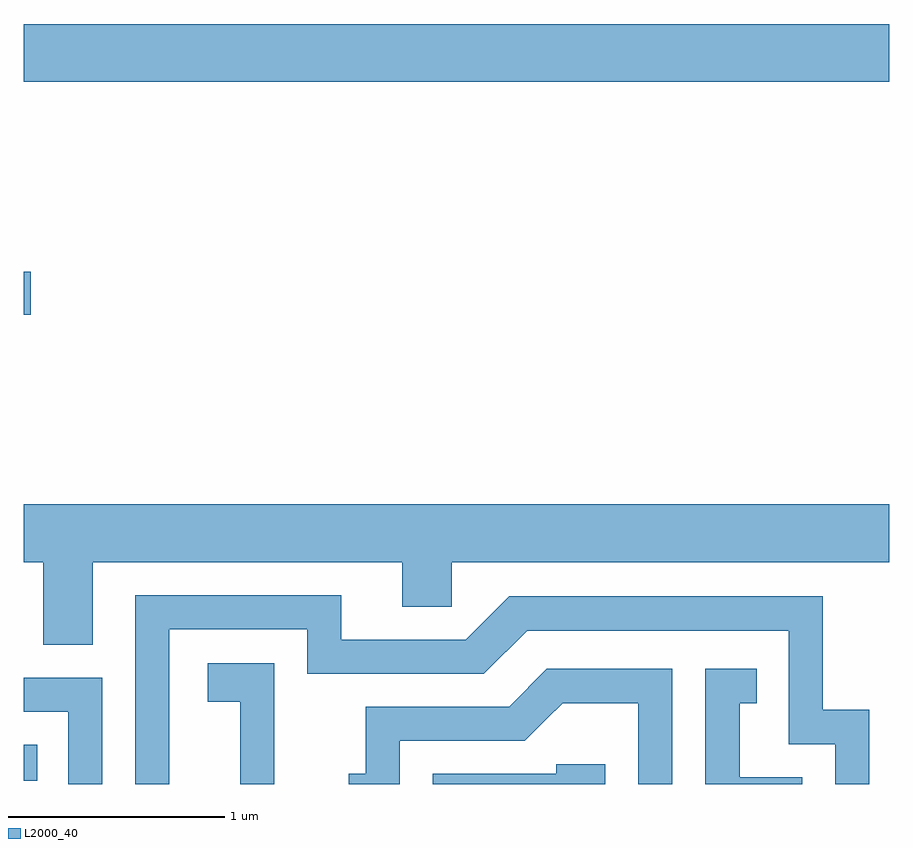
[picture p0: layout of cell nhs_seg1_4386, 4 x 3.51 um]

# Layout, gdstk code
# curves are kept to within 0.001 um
import gdstk
lib = gdstk.Library(unit=1e-6, precision=1e-09)
def R(c, l, rs):  # rectangles x0, y0, x1, y1
    for r in rs: c.add(gdstk.rectangle(r[:2], r[2:], *l))
def P(c, l, *ps):  # polygons
    for p in ps: c.add(gdstk.Polygon(p, *l))
L2000_40 = (2000, 40)

nhs_seg1_4386 = lib.new_cell('nhs_seg1_4386')
R(nhs_seg1_4386, L2000_40, [(317.611,849.726,317.673,849.894), (317.611,851.881,317.644,852.079), (317.611,852.956,321.611,853.224)])
P(nhs_seg1_4386, L2000_40, [(317.929,850.736),(319.361,850.736),(319.361,850.531),(319.589,850.531),(319.589,850.736),(321.611,850.736),(321.611,851.004),(317.611,851.004),(317.611,850.736),(317.701,850.736),(317.701,850.356),(317.929,850.356)],
  [(318.284,850.426),(318.921,850.426),(318.921,850.221),(319.737,850.221),(319.937,850.421),(321.146,850.421),(321.146,849.896),(321.361,849.896),(321.361,849.712),(321.519,849.712),(321.519,850.054),(321.304,850.054),(321.304,850.579),(319.854,850.579),(319.654,850.379),(319.079,850.379),(319.079,850.584),(318.126,850.584),(318.126,849.712),(318.284,849.712)],
  [(318.769,850.269),(318.461,850.269),(318.461,850.091),(318.611,850.091),(318.611,849.712),(318.769,849.712)],
  [(319.349,849.911),(319.927,849.911),(320.102,850.086),(320.451,850.086),(320.451,849.712),(320.609,849.712),(320.609,850.244),(320.029,850.244),(319.854,850.069),(319.191,850.069),(319.191,849.759),(319.113,849.759),(319.113,849.712),(319.349,849.712)],
  [(321.209,849.744),(320.919,849.744),(320.919,850.086),(320.998,850.086),(320.998,850.244),(320.761,850.244),(320.761,849.712),(321.209,849.712)],
  [(317.974,850.204),(317.611,850.204),(317.611,850.046),(317.816,850.046),(317.816,849.712),(317.974,849.712)],
  [(320.299,849.804),(320.071,849.804),(320.071,849.759),(319.501,849.759),(319.501,849.712),(320.299,849.712)])

lib.write_gds('nhs_seg1_4386.gds')
